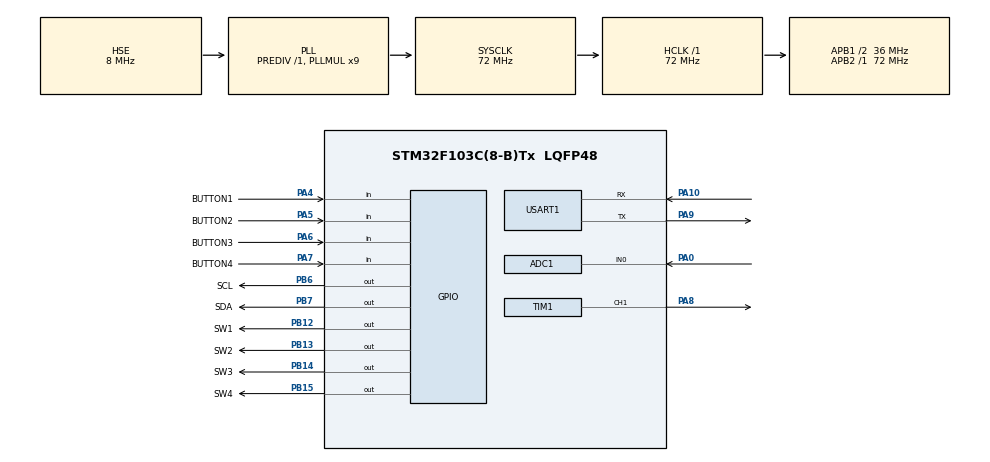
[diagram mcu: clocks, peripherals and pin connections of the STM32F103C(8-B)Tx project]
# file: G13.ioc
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ADC1.Channel-0\#ChannelRegularConversion=ADC_CHANNEL_0
ADC1.NbrOfConversionFlag=1
ADC1.Rank-0\#ChannelRegularConversion=1
ADC1.SamplingTime-0\#ChannelRegularConversion=ADC_SAMPLETIME_239CYCLES_5
ADC1.master=1
Mcu.Family=STM32F1
Mcu.Name=STM32F103C(8-B)Tx
Mcu.Package=LQFP48
NVIC.PriorityGroup=NVIC_PRIORITYGROUP_4
PA0-WKUP.Signal=ADCx_IN0
PA10.Mode=Asynchronous
PA10.Signal=USART1_RX
PA13.Mode=Serial_Wire
PA13.Signal=SYS_JTMS-SWDIO
PA14.Mode=Serial_Wire
PA14.Signal=SYS_JTCK-SWCLK
PA4.GPIO_Label=BUTTON1
PA4.GPIO_PuPd=GPIO_PULLUP
PA4.Signal=GPIO_Input
PA5.GPIO_Label=BUTTON2
PA5.GPIO_PuPd=GPIO_PULLUP
PA5.Signal=GPIO_Input
PA6.GPIO_Label=BUTTON3
PA6.GPIO_PuPd=GPIO_PULLUP
PA6.Signal=GPIO_Input
PA7.GPIO_Label=BUTTON4
PA7.GPIO_PuPd=GPIO_PULLUP
PA7.Signal=GPIO_Input
PA8.Signal=S_TIM1_CH1
PA9.Mode=Asynchronous
PA9.Signal=USART1_TX
PB12.GPIO_Label=SW1
PB12.Signal=GPIO_Output
PB13.GPIO_Label=SW2
PB13.Signal=GPIO_Output
PB14.GPIO_Label=SW3
PB14.Signal=GPIO_Output
PB15.GPIO_Label=SW4
PB15.Signal=GPIO_Output
PB6.GPIO_Label=SCL
PB6.GPIO_Speed=GPIO_SPEED_FREQ_HIGH
PB6.PinState=GPIO_PIN_SET
PB6.Signal=GPIO_Output
PB7.GPIO_Label=SDA
PB7.GPIO_Speed=GPIO_SPEED_FREQ_HIGH
PB7.PinState=GPIO_PIN_SET
PB7.Signal=GPIO_Output
PD0-OSC_IN.Mode=HSE-External-Oscillator
PD0-OSC_IN.Signal=RCC_OSC_IN
PD1-OSC_OUT.Mode=HSE-External-Oscillator
PD1-OSC_OUT.Signal=RCC_OSC_OUT
ProjectManager.HeapSize=0x200
ProjectManager.StackSize=0x400
ProjectManager.TargetToolchain=MDK-ARM V5
RCC.ADCPresc=RCC_ADCPCLK2_DIV6
RCC.AHBFreq_Value=72000000
RCC.APB1CLKDivider=RCC_HCLK_DIV2
RCC.APB1Freq_Value=36000000
RCC.APB1TimFreq_Value=72000000
RCC.APB2Freq_Value=72000000
RCC.APB2TimFreq_Value=72000000
RCC.HCLKFreq_Value=72000000
RCC.PLLMUL=RCC_PLL_MUL9
RCC.PLLSourceVirtual=RCC_PLLSOURCE_HSE
RCC.SYSCLKFreq_VALUE=72000000
RCC.SYSCLKSource=RCC_SYSCLKSOURCE_PLLCLK
RCC.USBFreq_Value=72000000
SH.ADCx_IN0.0=ADC1_IN0,IN0
SH.S_TIM1_CH1.0=TIM1_CH1,PWM Generation1 CH1
TIM1.AutoReloadPreload=TIM_AUTORELOAD_PRELOAD_ENABLE
TIM1.Channel-PWM\ Generation1\ CH1=TIM_CHANNEL_1
TIM1.OCMode_PWM-PWM\ Generation1\ CH1=TIM_OCMODE_PWM1
TIM1.Period=20000-1
TIM1.Prescaler=72-1
TIM1.Pulse-PWM\ Generation1\ CH1=2500-1
USART1.VirtualMode=VM_ASYNC
board=custom

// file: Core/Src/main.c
/* USER CODE BEGIN Header */
/**
  ******************************************************************************
  * @file           : main.c
  * @brief          : Main program body
  ******************************************************************************
  * @attention
  *
  * Copyright (c) 2024 STMicroelectronics.
  * All rights reserved.
  *
  * This software is licensed under terms that can be found in the LICENSE file
  * in the root directory of this software component.
  * If no LICENSE file comes with this software, it is provided AS-IS.
  *
  ******************************************************************************
  */
/* USER CODE END Header */
#include "main.h"

/* USER CODE BEGIN Includes */

#include "oled.h"
#include "BSP_KEY.h"

///////////////////////////////函数声明//////////////////////////////
void Task();
void Shift_gears(uint8_t Shift);
void Set_num(s8* goal,s8 index,u8 op);
void average();
double Get_R(double dat_AD, uint8_t shift);
void OLED_Show_Scale(uint8_t shift);
void OLED_Show_Mode(uint8_t mode);
double Get_And_Show_Rd(double R,uint16_t adc_value,uint8_t shift);
double average2();
double average3();
////////////////////////////////////////////////////////////////////

/* USER CODE END Includes */

/* USER CODE BEGIN PD */

//??
#define AD_JZY 3.295
#define R_WC	 0.1
#define ADC_ITER_NUM 60

u8 oled_buf[16];
char temp[64];
unsigned char cnt = 0;
double dat_AD = 0;
double R = 0;
double R_goal=0;
double R_error=0;
uint8_t shift = 1;
double dat_AD1 = 0;
uint32_t R1 = 0;
uint8_t mode = 2;
uint32_t R_set = 0;
uint16_t R1_temp[128] = {63};
uint16_t adc_value=0;
double Rd=0;
double angle;
int angle_count=0;
u8 angle_direction=1;
u8 update_flag=1;//屏幕需要1刷新(GOAL)
u8 update_flag1=1;//屏幕需要1刷新(ERROR)
u8 mode_change_flag=0;//模式切换标志位

s8 goal[8];
s8 error[8];
s8 index_goal=7;
s8 index_error=7;
#define MODE_SET_GOAL 0
#define MODE_SET_ERROR 1
#define MODE_RUNNING 2
#define MODE_MANUAL 3
#define MODE_AUTO 4
#define CLEAR(x) Oled_Display_String((x),0,"                ")
#define ALL_MODE 5
/* USER CODE END PD */

ADC_HandleTypeDef hadc1;

TIM_HandleTypeDef htim1;

UART_HandleTypeDef huart1;

void SystemClock_Config(void);
static void MX_GPIO_Init(void);
static void MX_ADC1_Init(void);
static void MX_TIM1_Init(void);
static void MX_USART1_UART_Init(void);

int main(void)
{

  /* USER CODE BEGIN 1 */
  u8 timer_count=0;
  /* USER CODE END 1 */

  /* MCU Configuration--------------------------------------------------------*/

  /* Reset of all peripherals, Initializes the Flash interface and the Systick. */
  HAL_Init();

  /* Configure the system clock */
  SystemClock_Config();

  /* Initialize all configured peripherals */
  MX_GPIO_Init();
  MX_ADC1_Init();
  MX_TIM1_Init();
  MX_USART1_UART_Init();
  /* USER CODE BEGIN 2 */
  HAL_TIM_PWM_Start(&htim1,TIM_CHANNEL_1);//开启定时器输出
  if (HAL_ADCEx_Calibration_Start(&hadc1) != HAL_OK)//ADC校准
  {
    Error_Handler();
  }
  Oled_Init();//OLED初始化
  OLED_Clear(0x00);//清屏
  /* USER CODE END 2 */

  /* Infinite loop */
  while (1)
  {

    /* USER CODE BEGIN 3 */
    //方法1:
    // for(timer_count=0;timer_count<50;timer_count++)
    // {
    //     HAL_Delay(1);
    //     average();
    // }
	for(timer_count=0;timer_count<50;timer_count++)
{
HAL_Delay(1);
adc_value=average3();
}
    //方法2:
    //adc_value=(uint16_t)average2();

    Task();//main task
  }
  /* USER CODE END 3 */
}

void SystemClock_Config(void)
{
  RCC_OscInitTypeDef RCC_OscInitStruct = {0};
  RCC_ClkInitTypeDef RCC_ClkInitStruct = {0};
  RCC_PeriphCLKInitTypeDef PeriphClkInit = {0};

  /** Initializes the RCC Oscillators according to the specified parameters
  * in the RCC_OscInitTypeDef structure.
  */
  RCC_OscInitStruct.OscillatorType = RCC_OSCILLATORTYPE_HSE;
  RCC_OscInitStruct.HSEState = RCC_HSE_ON;
  RCC_OscInitStruct.HSEPredivValue = RCC_HSE_PREDIV_DIV1;
  RCC_OscInitStruct.HSIState = RCC_HSI_ON;
  RCC_OscInitStruct.PLL.PLLState = RCC_PLL_ON;
  RCC_OscInitStruct.PLL.PLLSource = RCC_PLLSOURCE_HSE;
  RCC_OscInitStruct.PLL.PLLMUL = RCC_PLL_MUL9;
  if (HAL_RCC_OscConfig(&RCC_OscInitStruct) != HAL_OK)
  {
    Error_Handler();
  }

  /** Initializes the CPU, AHB and APB buses clocks
  */
  RCC_ClkInitStruct.ClockType = RCC_CLOCKTYPE_HCLK|RCC_CLOCKTYPE_SYSCLK
                              |RCC_CLOCKTYPE_PCLK1|RCC_CLOCKTYPE_PCLK2;
  RCC_ClkInitStruct.SYSCLKSource = RCC_SYSCLKSOURCE_PLLCLK;
  RCC_ClkInitStruct.AHBCLKDivider = RCC_SYSCLK_DIV1;
  RCC_ClkInitStruct.APB1CLKDivider = RCC_HCLK_DIV2;
  RCC_ClkInitStruct.APB2CLKDivider = RCC_HCLK_DIV1;

  if (HAL_RCC_ClockConfig(&RCC_ClkInitStruct, FLASH_LATENCY_2) != HAL_OK)
  {
    Error_Handler();
  }
  PeriphClkInit.PeriphClockSelection = RCC_PERIPHCLK_ADC;
  PeriphClkInit.AdcClockSelection = RCC_ADCPCLK2_DIV6;
  if (HAL_RCCEx_PeriphCLKConfig(&PeriphClkInit) != HAL_OK)
  {
    Error_Handler();
  }
}

static void MX_ADC1_Init(void)
{

  ADC_ChannelConfTypeDef sConfig = {0};

  /** Common config
  */
  hadc1.Instance = ADC1;
  hadc1.Init.ScanConvMode = ADC_SCAN_DISABLE;
  hadc1.Init.ContinuousConvMode = DISABLE;
  hadc1.Init.DiscontinuousConvMode = DISABLE;
  hadc1.Init.ExternalTrigConv = ADC_SOFTWARE_START;
  hadc1.Init.DataAlign = ADC_DATAALIGN_RIGHT;
  hadc1.Init.NbrOfConversion = 1;
  if (HAL_ADC_Init(&hadc1) != HAL_OK)
  {
    Error_Handler();
  }

  /** Configure Regular Channel
  */
  sConfig.Channel = ADC_CHANNEL_0;
  sConfig.Rank = ADC_REGULAR_RANK_1;
  sConfig.SamplingTime = ADC_SAMPLETIME_239CYCLES_5;
  if (HAL_ADC_ConfigChannel(&hadc1, &sConfig) != HAL_OK)
  {
    Error_Handler();
  }

}

static void MX_TIM1_Init(void)
{

  TIM_MasterConfigTypeDef sMasterConfig = {0};
  TIM_OC_InitTypeDef sConfigOC = {0};
  TIM_BreakDeadTimeConfigTypeDef sBreakDeadTimeConfig = {0};

  htim1.Instance = TIM1;
  htim1.Init.Prescaler = 72-1;
  htim1.Init.CounterMode = TIM_COUNTERMODE_UP;
  htim1.Init.Period = 20000-1;
  htim1.Init.ClockDivision = TIM_CLOCKDIVISION_DIV1;
  htim1.Init.RepetitionCounter = 0;
  htim1.Init.AutoReloadPreload = TIM_AUTORELOAD_PRELOAD_ENABLE;
  if (HAL_TIM_PWM_Init(&htim1) != HAL_OK)
  {
    Error_Handler();
  }
  sMasterConfig.MasterOutputTrigger = TIM_TRGO_RESET;
  sMasterConfig.MasterSlaveMode = TIM_MASTERSLAVEMODE_DISABLE;
  if (HAL_TIMEx_MasterConfigSynchronization(&htim1, &sMasterConfig) != HAL_OK)
  {
    Error_Handler();
  }
  sConfigOC.OCMode = TIM_OCMODE_PWM1;
  sConfigOC.Pulse = 2500-1;
  sConfigOC.OCPolarity = TIM_OCPOLARITY_HIGH;
  sConfigOC.OCNPolarity = TIM_OCNPOLARITY_HIGH;
  sConfigOC.OCFastMode = TIM_OCFAST_DISABLE;
  sConfigOC.OCIdleState = TIM_OCIDLESTATE_RESET;
  sConfigOC.OCNIdleState = TIM_OCNIDLESTATE_RESET;
  if (HAL_TIM_PWM_ConfigChannel(&htim1, &sConfigOC, TIM_CHANNEL_1) != HAL_OK)
  {
    Error_Handler();
  }
  sBreakDeadTimeConfig.OffStateRunMode = TIM_OSSR_DISABLE;
  sBreakDeadTimeConfig.OffStateIDLEMode = TIM_OSSI_DISABLE;
  sBreakDeadTimeConfig.LockLevel = TIM_LOCKLEVEL_OFF;
  sBreakDeadTimeConfig.DeadTime = 0;
  sBreakDeadTimeConfig.BreakState = TIM_BREAK_DISABLE;
  sBreakDeadTimeConfig.BreakPolarity = TIM_BREAKPOLARITY_HIGH;
  sBreakDeadTimeConfig.AutomaticOutput = TIM_AUTOMATICOUTPUT_DISABLE;
  if (HAL_TIMEx_ConfigBreakDeadTime(&htim1, &sBreakDeadTimeConfig) != HAL_OK)
  {
    Error_Handler();
  }
  HAL_TIM_MspPostInit(&htim1);

}

static void MX_USART1_UART_Init(void)
{

  huart1.Instance = USART1;
  huart1.Init.BaudRate = 115200;
  huart1.Init.WordLength = UART_WORDLENGTH_8B;
  huart1.Init.StopBits = UART_STOPBITS_1;
  huart1.Init.Parity = UART_PARITY_NONE;
  huart1.Init.Mode = UART_MODE_TX_RX;
  huart1.Init.HwFlowCtl = UART_HWCONTROL_NONE;
  huart1.Init.OverSampling = UART_OVERSAMPLING_16;
  if (HAL_UART_Init(&huart1) != HAL_OK)
  {
    Error_Handler();
  }

}

static void MX_GPIO_Init(void)
{
  GPIO_InitTypeDef GPIO_InitStruct = {0};

  /* GPIO Ports Clock Enable */
  __HAL_RCC_GPIOD_CLK_ENABLE();
  __HAL_RCC_GPIOA_CLK_ENABLE();
  __HAL_RCC_GPIOB_CLK_ENABLE();

  /*Configure GPIO pin Output Level */
  HAL_GPIO_WritePin(GPIOB, SW1_Pin|SW2_Pin|SW3_Pin|SW4_Pin, GPIO_PIN_RESET);

  /*Configure GPIO pin Output Level */
  HAL_GPIO_WritePin(GPIOB, SCL_Pin|SDA_Pin, GPIO_PIN_SET);

  /*Configure GPIO pins : BUTTON1_Pin BUTTON2_Pin BUTTON3_Pin BUTTON4_Pin */
  GPIO_InitStruct.Pin = BUTTON1_Pin|BUTTON2_Pin|BUTTON3_Pin|BUTTON4_Pin;
  GPIO_InitStruct.Mode = GPIO_MODE_INPUT;
  GPIO_InitStruct.Pull = GPIO_PULLUP;
  HAL_GPIO_Init(GPIOA, &GPIO_InitStruct);

  /*Configure GPIO pins : SW1_Pin SW2_Pin SW3_Pin SW4_Pin */
  GPIO_InitStruct.Pin = SW1_Pin|SW2_Pin|SW3_Pin|SW4_Pin;
  GPIO_InitStruct.Mode = GPIO_MODE_OUTPUT_PP;
  GPIO_InitStruct.Pull = GPIO_NOPULL;
  GPIO_InitStruct.Speed = GPIO_SPEED_FREQ_LOW;
  HAL_GPIO_Init(GPIOB, &GPIO_InitStruct);

  /*Configure GPIO pins : SCL_Pin SDA_Pin */
  GPIO_InitStruct.Pin = SCL_Pin|SDA_Pin;
  GPIO_InitStruct.Mode = GPIO_MODE_OUTPUT_PP;
  GPIO_InitStruct.Pull = GPIO_NOPULL;
  GPIO_InitStruct.Speed = GPIO_SPEED_FREQ_HIGH;
  HAL_GPIO_Init(GPIOB, &GPIO_InitStruct);

}

/* USER CODE BEGIN 4 */
///////////////////////////////////////TASK////////////////////////////////////////
void Task()
{
  OLED_Show_Mode(mode);//显示当前模式

//////////////////////////////////////////////
  if(KEY_Scan()==KEYD_PRES){//模式切换
      mode++;
      mode%=ALL_MODE;
      mode_change_flag=1;
  }
//////////////////////////////////////////////

//////////////////////////////////SET GOAL///////////////////////////////////
  if(mode==MODE_SET_GOAL){
    if(mode_change_flag){
      mode_change_flag=0;update_flag=1;
      CLEAR(6);
    }
    if(KEY_Scan()==KEYU_PRES){Set_num(goal,index_goal,1);update_flag=1;}
    if(KEY_Scan()==KEYL_PRES){index_goal--;update_flag=1;}
    if(KEY_Scan()==KEYR_PRES){index_goal++;update_flag=1;}
    if(index_goal<0)index_goal=7;
    if(index_goal>7)index_goal=0;
    //show the goal and error
    if(update_flag){
      update_flag=0;
      CLEAR(2);Oled_Display_String(2,0,"GOAL:    ");
      CLEAR(4);Oled_Display_String(4,0,"ERROR:   ");
      Oled_Display_Num_with_Index(goal,index_goal,2,8*8);
      Oled_Display_Num_with_Index(error,index_error,4,8*8);
    }
  }//if(mode==MODE_SET_GOAL)

//////////////////////////////////SET ERROR///////////////////////////////////
  if(mode==MODE_SET_ERROR){
    if(mode_change_flag){
      mode_change_flag=0;update_flag1=1;
      CLEAR(6);
    }
    if(KEY_Scan()==KEYU_PRES){Set_num(error,index_error,1);update_flag1=1;}
    if(KEY_Scan()==KEYL_PRES){index_error--;update_flag1=1;}
    if(KEY_Scan()==KEYR_PRES){index_error++;update_flag1=1;}
    if(index_error<0)index_error=7;
    if(index_error>7)index_error=0;
    //Show the goal and error
    if(update_flag1){
      update_flag1=0;
      CLEAR(2);Oled_Display_String(2,0,"GOAL:    ");
      CLEAR(4);Oled_Display_String(4,0,"ERROR:   ");
      Oled_Display_Num_with_Index(goal,index_goal,2,8*8);
      Oled_Display_Num_with_Index(error,index_error,4,8*8);
    }

  }//if(mode==MODE_SET_ERROR)

  //Calculate the goal and error
  R_goal=goal[0]*10000000+goal[1]*1000000+goal[2]*100000+goal[3]*10000+goal[4]*1000+goal[5]*100+goal[6]*10+goal[7];
  R_error=error[0]*10000000+error[1]*1000000+error[2]*100000+error[3]*10000+error[4]*1000+error[5]*100+error[6]*10+error[7];

//////////////////////////////////RUNNING///////////////////////////////////
  if(mode==MODE_RUNNING){

    if(mode_change_flag){
      mode_change_flag=0;
      CLEAR(6);
    }

    dat_AD=(double)adc_value;
    R=Get_R(dat_AD,shift);
    Rd=Get_And_Show_Rd(R,adc_value,shift);

    //判断阻值是否符合标准
    if(R_goal&&R_error){
    if(R<=(R_goal-R_error)){//实际阻值过小
          Oled_Display_String(6,0,"too little!     ");
          }else if(R>=(R_goal+R_error)){//实际阻值过大
          Oled_Display_String(6,0,"too big!        ");
        }else{//实际阻值符合标准
          Oled_Display_String(6,0,"      PASS      ");
        }
    }else{
      Oled_Display_String(6,0,"----------------");
    }

    if(R<500)shift=1;//100
    else if(R<9000)shift=2;//1k  1000 vs 10000
    else if(R<110000)shift=3;//10k 10 000   vs 100 000
    else shift=4;//10M

    if(R<1){
      //shift=4;
    }
    Shift_gears(shift);//切换下次档位
  }//if(mode==MODE_RUNNING)

//////////////////////////////////MANUAL///////////////////////////////////
  if(mode==MODE_MANUAL){
    OLED_Show_Scale(shift);//显示量程 row=6
    if(adc_value==0){
      //R = 0;//无效阻值
    }
    else{
      dat_AD=(double)adc_value;
      R=Get_R(dat_AD,shift);
      Rd=Get_And_Show_Rd(R,adc_value,shift);//计算并显示实际合适量程的阻值
    }

    if(KEY_Scan()==KEYU_PRES){//手动切换档位
      shift++;
      if(shift>4){
        shift=1;
      }
      Shift_gears(shift);
    }
  }//if(mode==MODE_MANUAL)

//////////////////////////////////AUTO///////////////////////////////////
   if(mode==MODE_AUTO){

		 if(mode_change_flag){
      mode_change_flag=0;
      CLEAR(6);
    }

    shift=1;//根据实际电阻值 量程设置为1
    Shift_gears(shift);//执行切换档位
    angle_count++;//测量分频计数器计数
    if(angle_count>=4){//修改分频值here
      angle_count=0;

      if(angle_direction){//++
        angle+=9;
        if(angle>=180-9) {
          angle_direction=0;
					while(1);
        }
      }else{//--
        angle-=9;
        if(angle<=0+9) {
          angle_direction=1;
        }
      }

      //设置新的舵机值
      __HAL_TIM_SET_COMPARE(&htim1,TIM_CHANNEL_1,(uint16_t)(20000.0/40.0+(angle/180.0)*(20000.0/40.0*4.0)));
    }
    if(adc_value==0){
      R = 0;//无效阻值
    }
    else{
      dat_AD=(double)adc_value;//获取ADC原始值
      R=Get_R(dat_AD,shift);//计算实际阻值
      Rd=Get_And_Show_Rd(R,adc_value,shift);//计算并显示实际合适量程的阻值
    }
    //串口发送阻值数据
    //格式:角度值,实际阻值
    sprintf(temp, "%d,%lf\r\n",(uint16_t)angle,R);
    HAL_UART_Transmit(&huart1, (uint8_t*)temp, strlen(temp), 0xffff);
  }//if(mode==MODE_AUTO)

}//TASK

////////////////////////////////////////底层函数定义///////////////////////////////////

double average3()
{
static uint8_t i=0;
static double sum=0;
static double data[10];
HAL_ADC_Start(&hadc1);
HAL_ADC_PollForConversion(&hadc1,10);
data[i] = (double)HAL_ADC_GetValue(&hadc1);
sum+=data[i];
i=(i+1)%10;
if(i==0)
{
double avg=sum/10.0;
sum=0;
return avg;
}
return 0;
}

//根据实际电阻范围选择合适的显示方式显示出来 并计算实际应显示的值
//在第三行显示原始ADC值
//并显示当前档位
double Get_And_Show_Rd(double R,uint16_t adc_value,uint8_t shift)
{
  double Rd;
  if(R<1000){
  Rd=R;
  sprintf(oled_buf, "R:%10.3lfR", Rd);
  }else if(R<1000000){
  Rd=R/1000.0;
  sprintf(oled_buf, "R:%10.3lfK", Rd);
  }else if(R<1000000000){
  Rd=R/1000000.0;
  sprintf(oled_buf, "R:%10.3lfM", Rd);
  }else {
    //Rd=0.0;
		//Rd=0.0;
    sprintf(oled_buf, "R:              ");
  }
  //Show on the OLED
  CLEAR(2);
  Oled_Display_String(2,0,oled_buf);
  CLEAR(4);
  sprintf(oled_buf, "ADC:%4d Shift:%d", adc_value,shift);
  Oled_Display_String(4,0,oled_buf);
  return Rd;
}

//OLED在顶部显示当前模式
void OLED_Show_Mode(uint8_t mode)
{
  if(mode==MODE_SET_GOAL){
    Oled_Display_String(0,0,"  MODE SET GOAL ");
  }
  if(mode==MODE_SET_ERROR){
    Oled_Display_String(0,0," MODE SET ERROR ");
  }
  if(mode==MODE_RUNNING){
    Oled_Display_String(0,0,"  MODE RUNNING  ");
  }
  if(mode==MODE_MANUAL){
    Oled_Display_String(0,0,"  MODE MANUAL   ");
  }if(mode==MODE_AUTO){
    Oled_Display_String(0,0,"  MODE AUTO     ");
  }
}

//根据量程在OLED底部显示(row=6)
void OLED_Show_Scale(uint8_t shift)
{
  if(shift==1){
    Oled_Display_String(6,0,"SCALE--------100");
  }
  if(shift==2){
    Oled_Display_String(6,0,"SCALE---------1K");
  }
  if(shift==3){
    Oled_Display_String(6,0,"SCALE--------10K");
  }
  if(shift==4){
    Oled_Display_String(6,0,"SCALE--------10M");
  }
}

//设置目标值和误差值通用函数
//输入参数:
//goal:要修改的数字的各位数组
//index:要修改的位
//op:固定为1 单向增加
void Set_num(s8* goal,s8 index,u8 op){
  if(index<0)return;
  if(index>=8)return;

  if(op==0){
    goal[index]--;
    if(goal[index]<=0)goal[index]=9;
  }
  else {
    goal[index]++;
    if(goal[index]>=10)goal[index]=0;
  }

}

//切换量程档位
void Shift_gears(uint8_t Shift)
{
		if(Shift == 1)
		{
			 HAL_GPIO_WritePin(GPIOB, SW1_Pin, 0);
				HAL_GPIO_WritePin(GPIOB, SW2_Pin, 1);
				HAL_GPIO_WritePin(GPIOB, SW3_Pin, 1);
				HAL_GPIO_WritePin(GPIOB, SW4_Pin, 1);
		}
		else if(Shift == 2)
		{
				HAL_GPIO_WritePin(GPIOB, SW1_Pin, 1);
				HAL_GPIO_WritePin(GPIOB, SW2_Pin, 0);
				HAL_GPIO_WritePin(GPIOB, SW3_Pin, 1);
				HAL_GPIO_WritePin(GPIOB, SW4_Pin, 1);
		}
		else if(Shift == 3)
		{
				HAL_GPIO_WritePin(GPIOB, SW1_Pin, 1);
				HAL_GPIO_WritePin(GPIOB, SW2_Pin, 1);
				HAL_GPIO_WritePin(GPIOB, SW3_Pin, 0);
				HAL_GPIO_WritePin(GPIOB, SW4_Pin, 1);
		}
		else if(Shift == 4)
		{
        HAL_GPIO_WritePin(GPIOB, SW1_Pin, 1);
				HAL_GPIO_WritePin(GPIOB, SW2_Pin, 1);
				HAL_GPIO_WritePin(GPIOB, SW3_Pin, 1);
				HAL_GPIO_WritePin(GPIOB, SW4_Pin, 0);
		}
		else
		{
        HAL_GPIO_WritePin(GPIOB, SW1_Pin, 1);
				HAL_GPIO_WritePin(GPIOB, SW2_Pin, 1);
				HAL_GPIO_WritePin(GPIOB, SW3_Pin, 1);
        HAL_GPIO_WritePin(GPIOB, SW4_Pin, 1);
		}
}

//根据ADC原始值和量程计算实际电阻值
double Get_R(double dat_AD, uint8_t shift)
{
  double R=0;
	if(dat_AD==0)return 99999999999;
  if(shift == 1)	R = (double)(4096.0-dat_AD)*99/dat_AD;
  else if(shift == 2)	R = (double)(4096.0-dat_AD)*985.0/dat_AD;
  else if(shift == 3)	R = (double)(4096.0-dat_AD)*10000.0/dat_AD;
  else if(shift == 4)	R = (double)(4096.0-dat_AD)*11020000.0/dat_AD;
  return R;
}

uint8_t num = 0;
int v_data[30];
void average()
{

  HAL_ADC_Start(&hadc1);
	HAL_ADC_PollForConversion(&hadc1,10);

		v_data[num] = (int)HAL_ADC_GetValue(&hadc1);
		if(++num == 30)
		{
				num = 0;
				for(uint8_t i = 0; i < 30; i ++)
				for(uint8_t j = i; j < 30; j ++)
				{
			    if(v_data[j] <  v_data[i])
					{
							double t  = v_data[i];
							v_data[i] = v_data[j];
							v_data[j] = t;
					}
				}
				double sum = 0;
				for(uint8_t i = 10; i < 20; i ++)
				{
						sum+=v_data[i];
				}
				adc_value = (uint16_t)(sum/10.0);
		}
}

//计算方法2:
//直接取平均值
double average2()
{
  int sum=0;
  for(int i=0;i<ADC_ITER_NUM;i++){
    HAL_Delay(1);
    HAL_ADC_Start(&hadc1);
	  HAL_ADC_PollForConversion(&hadc1,10);
	  sum+= (int)HAL_ADC_GetValue(&hadc1);
  }
  return (double)sum/ADC_ITER_NUM;
  //return (double)HAL_ADC_GetValue(&hadc1);
}

// void TASK(void)
// {
// 		if(Shift == 1)			R = (double)(AD_JZY-dat_AD)*100/dat_AD;
// 		else if(Shift == 2)	R = (double)(AD_JZY-dat_AD)*1000/dat_AD;
// 		else if(Shift == 3)	R = (double)(AD_JZY-dat_AD)*10000/dat_AD;
// 		else if(Shift == 4)	R = (double)(AD_JZY-dat_AD)*1000000/dat_AD;
// 		OLED_ShowString(1,1,(uint8_t *)WS_Format("SHIFT:%d ", Shift),  strlen(WS_Format("SHIFT:%d ", Shift)));
// 		if(R > 1000000)																		OLED_ShowString(1,2,(uint8_t *)WS_Format("R:%d     ", 0), 		 strlen(WS_Format("R:%d     ", 0)));
// 		else if(R<1000)																		OLED_ShowString(1,2,(uint8_t *)WS_Format("R:%d     ", R), 		 strlen(WS_Format("R:%d     ", R)));
// 		else 																							OLED_ShowString(1,2,(uint8_t *)WS_Format("R:%.1fK    ", (double)R/1000), strlen(WS_Format("R:%.1fK    ", (double)R/1000)));
// 		double R_WC_num = (double)R_set*R_WC;
// 		if(R > 1000000)																		OLED_ShowString(1,5,(uint8_t *)WS_Format("    "), strlen(WS_Format("    ")));
// 		else
// 		{
// 				if(R>(R_set-R_WC_num) && R<(R_set+R_WC_num))	OLED_ShowString(1,5,(uint8_t *)WS_Format("PASS"), strlen(WS_Format("PASS")));
// 				else 																					OLED_ShowString(1,5,(uint8_t *)WS_Format("NG  "), strlen(WS_Format("NG  ")));
// 		}

// 		if(R<190) 							Shift = 1;
// 		if(R>200 	&& R<900) 		Shift = 2;
// 		if(R>1000 && R<500000) 	Shift = 3;
// 		if(R>400000) 						Shift = 4;
// 		Shift_gears(Shift);
// }

/* USER CODE END 4 */

void Error_Handler(void)
{
  __disable_irq();
  while (1)
  {
  }
}
